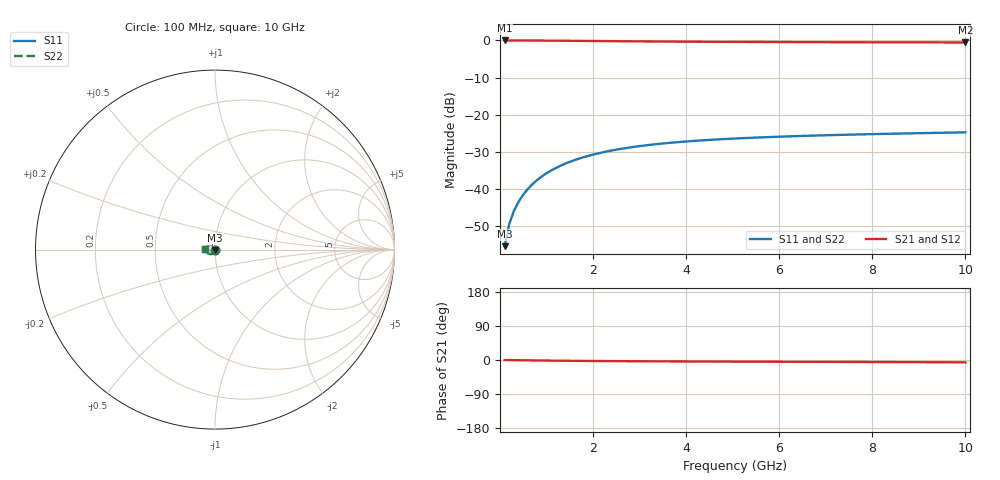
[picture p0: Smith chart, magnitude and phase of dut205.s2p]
! Touchstone file exported from HFSS 2024.1.0
!  File:  C:/UserFiles/LocalFiles/RDL_TSV_Batchsim/temp_TSV1_205_1779386297.aedt
!  Generated:  02:05:13 AM May 22, 2026
!  Design:  TSV1
!  Project:  temp_TSV1_205_1779386297
!  Setup:  Setup1
!  Solution:  Sweep
! Variables:
!  dtsv = 11.9um
!  hbump = 3um
!  htsv = 96.06um
!  lrdl = 252.1521522um
!  p = 40
!  p1 = 58.25um
!  t = 500um
!  trdl = 3um
!  wrdl = 24.89489489um
# GHz S MA R 50.000000
! Terminal data exported
! Port[1] = TSV22_T1
! Port[2] = TSV22_T2
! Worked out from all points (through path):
!   100 points, 100 MHz to 10 GHz, reference 50 ohm
!   highest |S21| = 0.00 dB at 100 MHz (marker M1); lowest = -0.5 dB at 10 GHz (marker M2)
!   lowest |S11| = -55.5 dB at 100 MHz (marker M3), VSWR 1.00, Z = 50 - j0.168 ohm
!   |S11| at or under -10 dB: start of sweep to end of sweep
!   |S22| runs from -55.5 to -24.8 dB; largest |S21 - S12| = 6e-15
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0.1  0.001678 -88.1  0.9998 -0.2  0.9998 -0.2  0.001678 -88.1
! Gamma 0 0 0 0
! Port Impedance 50 0 50 0
0.2  0.003348 -91.9  0.9996 -0.3  0.9996 -0.3  0.003348 -91.9
0.3  0.005016 -94.4  0.9993 -0.5  0.9993 -0.5  0.005016 -94.4
0.4  0.006675 -96.7  0.9989 -0.6  0.9989 -0.6  0.006675 -96.7
0.5  0.008319 -98.8  0.9984 -0.8  0.9984 -0.8  0.008319 -98.8
0.6  0.009942 -100.9  0.9978 -0.9  0.9978 -0.9  0.009942 -100.9
0.7  0.01154 -102.9  0.9971 -1.1  0.9971 -1.1  0.01154 -102.9
0.8  0.01311 -104.9  0.9963 -1.2  0.9963 -1.2  0.01311 -104.9
0.9  0.01464 -106.9  0.9954 -1.4  0.9954 -1.4  0.01464 -106.9
1.1  0.0176 -110.6  0.9935 -1.6  0.9935 -1.6  0.0176 -110.6
1.4  0.02174 -116.0  0.9902 -2.0  0.9902 -2.0  0.02174 -116.0
1.6  0.02428 -119.4  0.9879 -2.2  0.9879 -2.2  0.02428 -119.4
1.8  0.02665 -122.7  0.9855 -2.4  0.9855 -2.4  0.02665 -122.7
2.1  0.02988 -127.2  0.9819 -2.7  0.9819 -2.7  0.02988 -127.2
2.5  0.03363 -132.8  0.9772 -3.0  0.9772 -3.0  0.03363 -132.8
2.9  0.03682 -137.9  0.9728 -3.3  0.9728 -3.3  0.03682 -137.9
3.4  0.04013 -143.5  0.9678 -3.6  0.9678 -3.6  0.04013 -143.5
4.2  0.04426 -151.3  0.9612 -3.9  0.9612 -3.9  0.04426 -151.3
5.1  0.04769 -158.5  0.9554 -4.3  0.9554 -4.3  0.04769 -158.6
6.7  0.05195 -168.9  0.9483 -4.9  0.9483 -4.9  0.05195 -168.9
8.4  0.05515 -177.7  0.9435 -5.5  0.9435 -5.5  0.05515 -177.7
10  0.05756 175.3  0.9405 -6.1  0.9405 -6.1  0.05756 175.3
